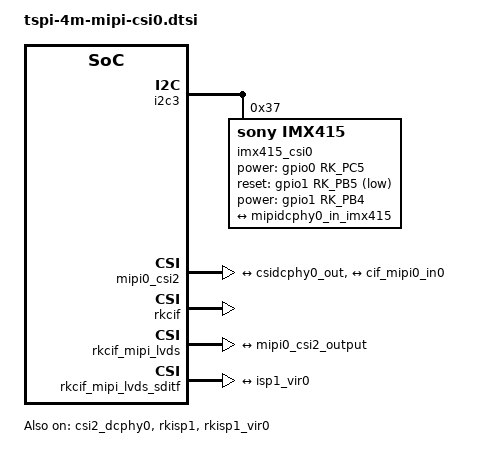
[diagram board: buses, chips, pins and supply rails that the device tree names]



&i2c3 {
    status = "okay";
	imx415_csi0: imx415@37 {
		compatible = "sony,imx415";
		status = "okay";
		reg = <0x37>;
		clocks = <&cru CLK_MIPI_CAMARAOUT_M1>;
		clock-names = "xvclk";
		pinctrl-names = "default";

		pinctrl-0 = <&mipim0_camera1_clk>;
		power-domains = <&power RK3588_PD_VI>;

		rockchip,power-gpios = <&gpio0 RK_PC5 GPIO_ACTIVE_HIGH>;
		reset-gpios = <&gpio1 RK_PB5 GPIO_ACTIVE_LOW>;
		power-gpios = <&gpio1 RK_PB4 GPIO_ACTIVE_HIGH>;

		rockchip,camera-module-index = <2>;
		rockchip,camera-module-facing = "back";
		// rockchip,camera-module-facing = "front";
		rockchip,camera-module-name = "CMK-OT2022-PX1";
		rockchip,camera-module-lens-name = "IR0147-50IRC-8M-F20";
		port {
			imx415_out0: endpoint {
				remote-endpoint = <&mipidcphy0_in_imx415>;
				data-lanes = <1 2 3 4>;
			};
		};
	};

};

&csi2_dcphy0 {
	status = "okay";

	ports {
		#address-cells = <1>;
		#size-cells = <0>;
		port@0 {
			reg = <0>;
			#address-cells = <1>;
			#size-cells = <0>;

			mipidcphy0_in_imx415: endpoint@1 {
				reg = <1>;
				remote-endpoint = <&imx415_out0>;
				data-lanes = <1 2 3 4>;
			};
			
		};
		port@1 {
			reg = <1>;
			#address-cells = <1>;
			#size-cells = <0>;

			csidcphy0_out: endpoint@0 {
				reg = <0>;
				remote-endpoint = <&mipi0_csi2_input>;
			};
		};
	};
};

&mipi0_csi2 {
	status = "okay";

	ports {
		#address-cells = <1>;
		#size-cells = <0>;

		port@0 {
			reg = <0>;
			#address-cells = <1>;
			#size-cells = <0>;

			mipi0_csi2_input: endpoint@1 {
				reg = <1>;
				remote-endpoint = <&csidcphy0_out>;
			};


		};

		port@1 {
			reg = <1>;
			#address-cells = <1>;
			#size-cells = <0>;

			mipi0_csi2_output: endpoint@0 {
				reg = <0>;
				remote-endpoint = <&cif_mipi0_in0>;
			};
		};
	};
};


&rkcif {
	status = "okay";
};

&rkcif_mipi_lvds {
	status = "okay";

	port {
		cif_mipi0_in0: endpoint {
			remote-endpoint = <&mipi0_csi2_output>;
		};
	};
};

&rkcif_mipi_lvds_sditf {
	status = "okay";

	port {
		mipi_lvds_sditf: endpoint {
			remote-endpoint = <&isp1_vir0>;
		};
	};
};

&rkcif_mmu {
	status = "okay";
};

&rkisp1 {
	status = "okay";
};

&isp1_mmu {
	status = "okay";
};

&rkisp1_vir0 {
	status = "okay";

	port {
		#address-cells = <1>;
		#size-cells = <0>;

		isp1_vir0: endpoint@0 {
			reg = <0>;
			remote-endpoint = <&mipi_lvds_sditf>;
		};
	};
};
